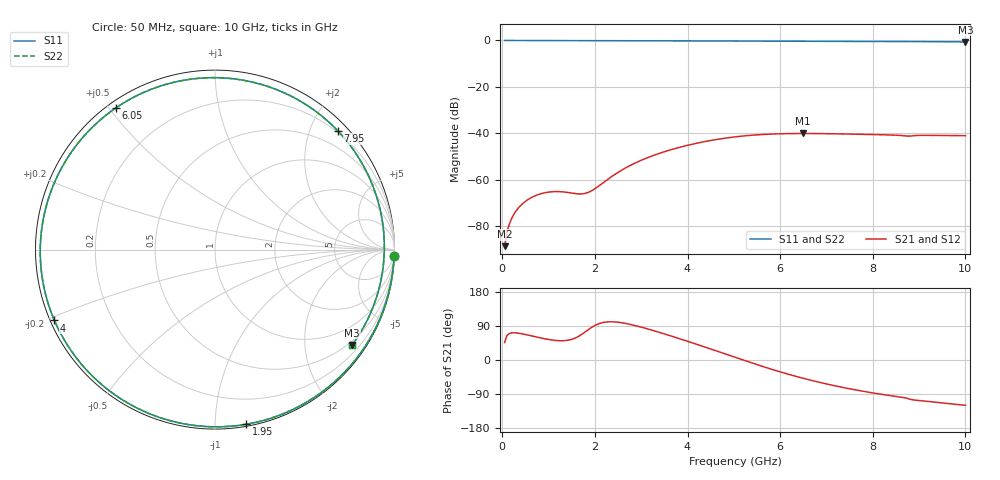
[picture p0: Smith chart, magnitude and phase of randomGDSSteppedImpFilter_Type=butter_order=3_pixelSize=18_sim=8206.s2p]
! freq	dB(S11)	phase(S11)	dB(S12)	phase(S12)
!  dB(S21)	phase(S21)	dB(S22)	phase(S22)
!S-par simulation data
#  GHz  S  DB  R 50
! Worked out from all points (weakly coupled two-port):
!   200 points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, 50 MHz to 10 GHz, reference 50 ohm
!   highest |S21| = -40.05 dB at 6.5 GHz (marker M1); lowest = -88.6 dB at 50 MHz (marker M2)
!   lowest |S11| = -0.6 dB at 10 GHz (marker M3), VSWR 27.70, Z = 19.9 - j157 ohm
!   |S11| at or under -10 dB: nowhere
!   |S22| runs from -0.6 to 0.0 dB; largest |S21 - S12| = 0
!   S11 on the Smith chart (normalised r, x): 50 MHz: 1, -56; 1.95 GHz: 0.01, -1.20; 4 GHz: 0.01, -0.21; 6.05 GHz: 0.02, +0.52; 7.95 GHz: 0.18, +2.47; 10 GHz: 0.40, -3.14
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0.05  -0.01 -2.0  -88.55 46.0  -88.55 46.0  -0.01 -2.0
0.15  -0.02 -6.3  -79.16 69.8  -79.16 69.8  -0.02 -6.3
0.25  -0.02 -10.5  -74.83 71.9  -74.83 71.9  -0.02 -10.5
0.4  -0.03 -16.9  -70.98 69.7  -70.98 69.7  -0.03 -16.9
0.7  -0.04 -29.4  -66.94 61.7  -66.94 61.7  -0.04 -29.4
1.1  -0.06 -45.9  -65.08 52.3  -65.08 52.3  -0.06 -45.9
1.75  -0.09 -72.0  -65.97 70.6  -65.97 70.6  -0.09 -72.0
1.95  -0.10 -79.8  -64.45 87.7  -64.45 87.7  -0.10 -79.8
2.65  -0.13 -106.5  -55.01 96.8  -55.01 96.8  -0.13 -106.5
3.4  -0.16 -134.2  -48.55 72.6  -48.55 72.6  -0.16 -134.2
4  -0.19 -156.2  -45.14 49.4  -45.14 49.4  -0.19 -156.2
4.55  -0.23 -176.5  -42.88 26.9  -42.88 26.9  -0.23 -176.5
5.05  -0.26 164.6  -41.45 6.1  -41.45 6.1  -0.26 164.6
5.55  -0.29 145.2  -40.57 -14.3  -40.57 -14.3  -0.29 145.2
6.05  -0.32 125.0  -40.15 -33.1  -40.15 -33.1  -0.32 125.0
6.5  -0.35 106.3  -40.05 -48.4  -40.05 -48.4  -0.35 106.3
6.7  -0.36 97.8  -40.07 -54.6  -40.07 -54.6  -0.36 97.8
7.3  -0.40 72.0  -40.23 -71.1  -40.23 -71.1  -0.40 71.9
7.95  -0.43 44.0  -40.49 -85.9  -40.49 -85.9  -0.43 43.9
8.35  -0.45 27.1  -40.68 -93.5  -40.68 -93.5  -0.45 27.1
9.1  -0.51 -2.8  -40.85 -108.1  -40.85 -108.1  -0.51 -2.8
10  -0.63 -34.8  -41.00 -119.7  -41.00 -119.7  -0.63 -34.8
